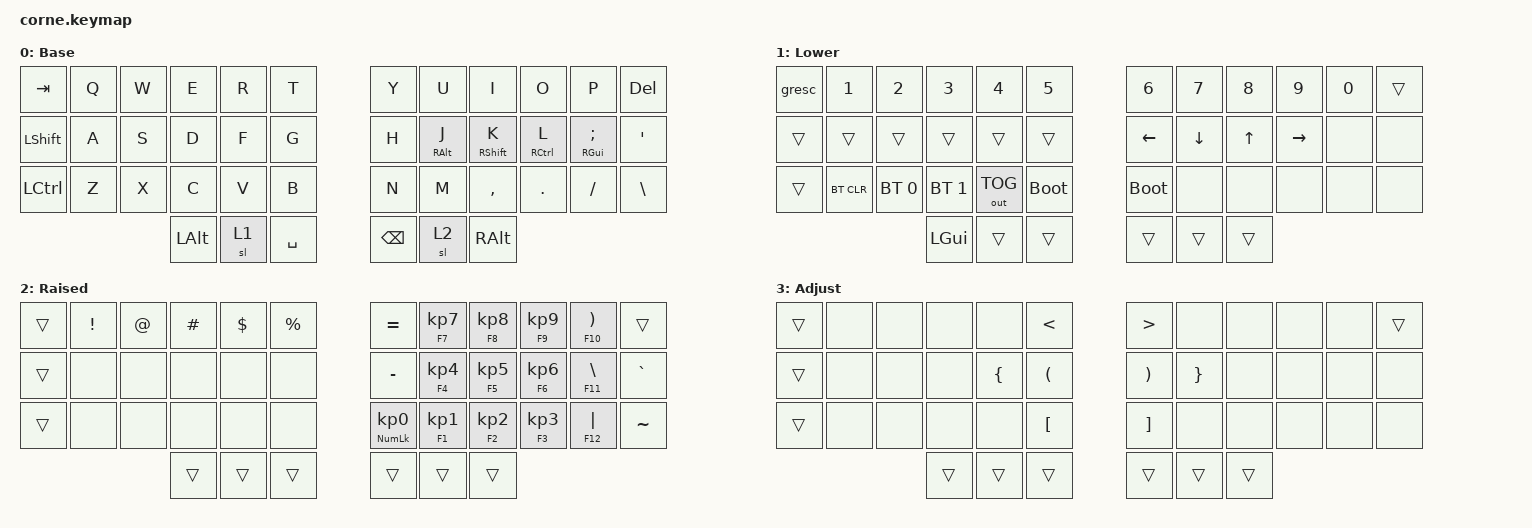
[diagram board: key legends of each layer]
/*
 * Copyright (c) 2020 The ZMK Contributors
 *
 * SPDX-License-Identifier: MIT
 */

#include <behaviors.dtsi>
#include <dt-bindings/zmk/bt.h>
#include <dt-bindings/zmk/keys.h>
#include <dt-bindings/zmk/outputs.h>

&mt { flavor = "tap-preferred"; };

/ {
    combos {
        compatible = "zmk,combos";

        Enter {
            bindings = <&kp ENTER>;
            key-positions = <21 20>;
        };
    };

    behaviors {
        hrm_l: hrm_l {
            compatible = "zmk,behavior-hold-tap";
            label = "Home Row Mods Left";
            bindings = <&kp>, <&kp>;

            #binding-cells = <2>;
            tapping-term-ms = <280>;
            quick-tap-ms = <175>;
            flavor = "tap-preferred";
            hold-trigger-key-positions = <36 37 38 39 40 41 6 7 8 9 10 18 19 20 21 22 30 31 32 33 34 39 40 41>;
            hold-trigger-on-release;
        };

        hrm_r: hrm_r {
            compatible = "zmk,behavior-hold-tap";
            label = "Home Row Mods Right";
            bindings = <&kp>, <&kp>;

            #binding-cells = <2>;
            tapping-term-ms = <280>;
            quick-tap-ms = <175>;
            flavor = "tap-preferred";
            hold-trigger-key-positions = <1 2 3 4 5 13 14 15 16 17 25 26 27 28 29 36 37 38 39 40 41>;
            hold-trigger-on-release;
        };
    };

    keymap {
        compatible = "zmk,keymap";

        default_layer {
            display-name = "Base";

            // -----------------------------------------------------------------------------------------
            // |  TAB |  Q  |  W  |  E  |  R  |  T  |   |  Y  |  U   |  I  |  O  |  P  | BSPC |
            // | SHFT |  A  |  S  |  D  |  F  |  G  |   |  H  |  J   |  K  |  L  |  ;  |  '   |
            // | CTRL |  Z  |  X  |  C  |  V  |  B  |   |  N  |  M   |  ,  |  .  |  /  |  \   |
            //                    | LALT| LWR | SPC |   | BSPC| RSE  | RALT|

            bindings = <
&kp TAB    &kp Q  &kp W  &kp E     &kp R  &kp T        &kp Y          &kp U          &kp I            &kp O           &kp P             &kp DELETE
&kp LSHFT  &kp A  &kp S  &kp D     &kp F  &kp G        &kp H          &hrm_r RALT J  &hrm_r RSHIFT K  &hrm_r RCTRL L  &hrm_r RGUI SEMI  &kp SQT
&kp LCTRL  &kp Z  &kp X  &kp C     &kp V  &kp B        &kp N          &kp M          &kp COMMA        &kp DOT         &kp FSLH          &kp BSLH
                         &kp LALT  &sl 1  &kp SPACE    &kp BACKSPACE  &sl 2          &kp RALT
            >;
        };

        lower_layer {
            display-name = "Lower";

            // -----------------------------------------------------------------------------------------
            // |GRESC |  1  |  2  |  3  |  4  |  5  |   |  6  |  7  |  8  |  9  |  0  |      |
            // |      |     |     |     |     |     |   | LFT | DWN |  UP | RGT |     |      |
            // |      |BTCLR| BT0 | BT1 | BT2 | BOOT|   | BOOT|     |     |     |     |      |
            //                    | GUI |     |     |   |     |     |     |

            bindings = <
&gresc  &kp N1      &kp N2        &kp N3        &kp N4        &kp N5         &kp N6       &kp N7    &kp N8  &kp N9     &kp N0  &trans
&trans  &trans      &trans        &trans        &trans        &trans         &kp LEFT     &kp DOWN  &kp UP  &kp RIGHT  &none   &none
&trans  &bt BT_CLR  &bt BT_SEL 0  &bt BT_SEL 1  &out OUT_TOG  &bootloader    &bootloader  &none     &none   &none      &none   &none
                                  &kp LGUI      &trans        &trans         &trans       &trans    &trans
            >;

            label = "Lowered";
        };

        raise_layer {
            display-name = "Raised";

            // -----------------------------------------------------------------------------------------
            // |  TAB |  !  |  @  |  #  |  $  |  %  |   |  +  |  7  |  8  |  9  |  )  |      |
            // | SHFT |     |     |     |     |     |   |  -  |  4  |  5  |  6  |  \  |  `   |
            // | CTRL |     |     |     |     |     |   |  0  |  1  |  2  |  3  |  |  |  ~   |
            //                    |     |     |     |   | DEL |     |     |

            bindings = <
&trans  &kp EXCL  &kp AT  &kp HASH  &kp DLLR  &kp PRCNT    &kp EQUAL                   &mt F7 KP_NUMBER_7  &mt F8 KP_NUMBER_8  &mt F9 KP_NUMBER_9  &mt F10 RPAR  &trans
&trans  &none     &none   &none     &none     &none        &kp MINUS                   &mt F4 KP_NUMBER_4  &mt F5 KP_NUMBER_5  &mt F6 KP_NUMBER_6  &mt F11 BSLH  &kp GRAVE
&trans  &none     &none   &none     &none     &none        &mt KP_NUMLOCK KP_NUMBER_0  &mt F1 KP_NUMBER_1  &mt F2 KP_NUMBER_2  &mt F3 KP_NUMBER_3  &mt F12 PIPE  &kp TILDE
                          &trans    &trans    &trans       &trans                      &trans              &trans
            >;
        };

        adjust_layer {
            bindings = <
&trans  &none  &none  &none   &none           &kp LESS_THAN           &kp GREATER_THAN       &none            &none   &none  &none  &trans
&trans  &none  &none  &none   &kp LEFT_BRACE  &kp LEFT_PARENTHESIS    &kp RIGHT_PARENTHESIS  &kp RIGHT_BRACE  &none   &none  &none  &none
&trans  &none  &none  &none   &none           &kp LEFT_BRACKET        &kp RIGHT_BRACKET      &none            &none   &none  &none  &none
                      &trans  &trans          &trans                  &trans                 &trans           &trans
            >;

            label = "Adjust";
        };
    };

    conditional_layers {
        compatible = "zmk,conditional-layers";

        Adjust_layer {
            if-layers = <1 2>;
            then-layer = <3>;
        };
    };
};
